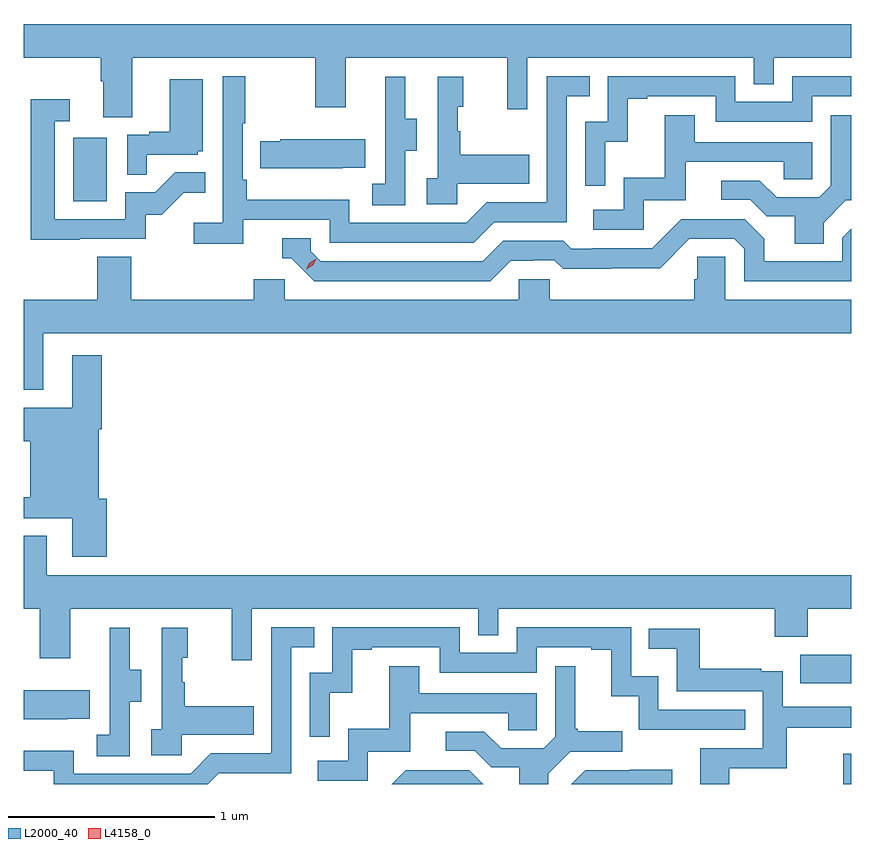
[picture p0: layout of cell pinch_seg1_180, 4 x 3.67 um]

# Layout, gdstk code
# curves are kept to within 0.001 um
import gdstk
lib = gdstk.Library(unit=1e-6, precision=1e-09)
def R(c, l, rs):  # rectangles x0, y0, x1, y1
    for r in rs: c.add(gdstk.rectangle(r[:2], r[2:], *l))
def P(c, l, *ps):  # polygons
    for p in ps: c.add(gdstk.Polygon(p, *l))
L2000_40 = (2000, 40)
L4158_0 = (4158, 0)

pinch_seg1_180 = lib.new_cell('pinch_seg1_180')
R(pinch_seg1_180, L2000_40, [(1082.13,552.218,1082.168,552.364), (1078.406,555.036,1078.57,555.343)])
P(pinch_seg1_180, L2000_40, [(1078.693,555.728),(1079.578,555.728),(1079.578,555.489),(1079.725,555.489),(1079.725,555.728),(1080.506,555.728),(1080.506,555.48),(1080.603,555.48),(1080.603,555.728),(1081.698,555.728),(1081.698,555.601),(1081.794,555.601),(1081.794,555.728),(1082.168,555.728),(1082.168,555.892),(1078.168,555.892),(1078.168,555.728),(1078.541,555.728),(1078.541,555.616),(1078.553,555.616),(1078.553,555.442),(1078.693,555.442)],
  [(1079.228,554.946),(1079.646,554.946),(1079.646,554.835),(1080.343,554.835),(1080.442,554.934),(1080.792,554.934),(1080.792,555.543),(1080.905,555.543),(1080.905,555.639),(1080.696,555.639),(1080.696,555.03),(1080.405,555.03),(1080.306,554.931),(1079.742,554.931),(1079.742,555.043),(1079.246,555.043),(1079.246,555.139),(1079.226,555.139),(1079.226,555.412),(1079.239,555.412),(1079.239,555.64),(1079.13,555.64),(1079.13,554.932),(1078.989,554.932),(1078.989,554.83),(1079.228,554.83)],
  [(1080.978,555.323),(1081.088,555.323),(1081.088,555.531),(1081.183,555.531),(1081.183,555.543),(1081.512,555.543),(1081.512,555.42),(1081.98,555.42),(1081.98,555.543),(1082.168,555.543),(1082.168,555.639),(1081.884,555.639),(1081.884,555.516),(1081.608,555.516),(1081.608,555.639),(1080.99,555.639),(1080.99,555.42),(1080.882,555.42),(1080.882,555.111),(1080.978,555.111)],
  [(1080.012,555.28),(1080.067,555.28),(1080.067,555.435),(1080.013,555.435),(1080.013,555.637),(1079.915,555.637),(1079.915,555.423),(1079.916,555.423),(1079.916,555.119),(1079.853,555.119),(1079.853,555.016),(1080.012,555.016)],
  [(1080.264,555.119),(1080.611,555.119),(1080.611,555.259),(1080.277,555.259),(1080.277,555.374),(1080.267,555.374),(1080.267,555.492),(1080.292,555.492),(1080.292,555.637),(1080.168,555.637),(1080.168,555.146),(1080.117,555.146),(1080.117,555.021),(1080.264,555.021)],
  [(1078.763,555.261),(1079.01,555.261),(1079.01,555.276),(1079.032,555.276),(1079.032,555.625),(1078.874,555.625),(1078.874,555.37),(1078.775,555.37),(1078.775,555.357),(1078.668,555.357),(1078.668,555.163),(1078.763,555.163)],
  [(1078.439,554.853),(1078.758,554.853),(1078.758,554.97),(1078.834,554.97),(1078.941,555.077),(1079.045,555.077),(1079.045,555.176),(1078.901,555.176),(1078.803,555.078),(1078.659,555.078),(1078.659,554.949),(1078.317,554.949),(1078.317,555.423),(1078.39,555.423),(1078.39,555.529),(1078.201,555.529),(1078.201,554.848),(1078.439,554.848)],
  [(1081.164,555.039),(1081.369,555.039),(1081.369,555.225),(1081.843,555.225),(1081.843,555.141),(1081.98,555.141),(1081.98,555.321),(1081.411,555.321),(1081.411,555.451),(1081.267,555.451),(1081.267,555.148),(1081.068,555.148),(1081.068,554.994),(1080.921,554.994),(1080.921,554.898),(1081.164,554.898)],
  [(1082.035,554.932),(1082.142,555.039),(1082.168,555.039),(1082.167,555.451),(1082.07,555.451),(1082.07,555.111),(1082.013,555.054),(1081.807,555.054),(1081.726,555.135),(1081.539,555.135),(1081.539,555.042),(1081.68,555.042),(1081.76,554.962),(1081.895,554.962),(1081.895,554.83),(1082.035,554.83)],
  [(1079.711,555.197),(1079.819,555.197),(1079.819,555.334),(1079.409,555.334),(1079.409,555.324),(1079.311,555.324),(1079.311,555.194),(1079.711,555.194)],
  [(1080.523,554.748),(1080.63,554.748),(1080.63,554.751),(1080.733,554.751),(1080.775,554.709),(1081.008,554.709),(1081.008,554.711),(1081.244,554.711),(1081.386,554.853),(1081.602,554.853),(1081.65,554.805),(1081.65,554.649),(1082.168,554.649),(1082.168,554.903),(1082.124,554.859),(1082.124,554.745),(1081.747,554.745),(1081.747,554.855),(1081.653,554.949),(1081.347,554.949),(1081.206,554.808),(1080.913,554.808),(1080.913,554.805),(1080.814,554.805),(1080.775,554.844),(1080.486,554.844),(1080.387,554.745),(1079.604,554.745),(1079.556,554.793),(1079.556,554.856),(1079.417,554.856),(1079.417,554.76),(1079.46,554.76),(1079.571,554.649),(1080.424,554.649)],
  [(1082.168,554.56),(1081.56,554.56),(1081.56,554.768),(1081.423,554.768),(1081.423,554.658),(1081.409,554.658),(1081.409,554.56),(1080.711,554.56),(1080.711,554.658),(1080.561,554.658),(1080.561,554.56),(1079.43,554.56),(1079.43,554.658),(1079.279,554.658),(1079.279,554.56),(1078.688,554.56),(1078.688,554.768),(1078.523,554.768),(1078.523,554.56),(1078.168,554.56),(1078.168,554.123),(1078.261,554.123),(1078.261,554.396),(1082.168,554.396)],
  [(1078.568,553.596),(1078.531,553.596),(1078.531,553.934),(1078.544,553.934),(1078.544,554.29),(1078.403,554.29),(1078.403,554.038),(1078.168,554.038),(1078.168,553.874),(1078.199,553.874),(1078.199,553.604),(1078.168,553.604),(1078.168,553.503),(1078.403,553.503),(1078.403,553.317),(1078.568,553.317)],
  [(1079.271,553.064),(1080.366,553.064),(1080.366,552.937),(1080.462,552.937),(1080.462,553.064),(1081.798,553.064),(1081.798,552.929),(1081.958,552.929),(1081.958,553.064),(1082.168,553.064),(1082.168,553.228),(1078.279,553.228),(1078.279,553.418),(1078.168,553.418),(1078.168,553.064),(1078.246,553.064),(1078.246,552.825),(1078.393,552.825),(1078.393,553.064),(1079.174,553.064),(1079.174,552.816),(1079.271,552.816)],
  [(1079.646,552.659),(1079.756,552.659),(1079.756,552.867),(1079.851,552.867),(1079.851,552.879),(1080.18,552.879),(1080.18,552.756),(1080.648,552.756),(1080.648,552.879),(1080.911,552.879),(1080.911,552.867),(1081.007,552.867),(1081.007,552.641),(1081.14,552.641),(1081.14,552.48),(1081.655,552.48),(1081.655,552.576),(1081.236,552.576),(1081.236,552.739),(1081.104,552.739),(1081.104,552.975),(1080.552,552.975),(1080.552,552.852),(1080.276,552.852),(1080.276,552.975),(1079.658,552.975),(1079.658,552.756),(1079.55,552.756),(1079.55,552.447),(1079.646,552.447)],
  [(1079.11,552.27),(1079.46,552.27),(1079.46,552.879),(1079.573,552.879),(1079.573,552.975),(1079.364,552.975),(1079.364,552.366),(1079.073,552.366),(1078.974,552.267),(1078.41,552.267),(1078.41,552.379),(1078.168,552.379),(1078.168,552.282),(1078.314,552.282),(1078.314,552.218),(1079.058,552.218)],
  [(1078.932,552.455),(1079.279,552.455),(1079.279,552.595),(1078.945,552.595),(1078.945,552.71),(1078.935,552.71),(1078.935,552.828),(1078.96,552.828),(1078.96,552.973),(1078.836,552.973),(1078.836,552.482),(1078.785,552.482),(1078.785,552.357),(1078.932,552.357)],
  [(1078.68,552.616),(1078.735,552.616),(1078.735,552.771),(1078.681,552.771),(1078.681,552.973),(1078.583,552.973),(1078.583,552.759),(1078.584,552.759),(1078.584,552.455),(1078.521,552.455),(1078.521,552.352),(1078.68,552.352)],
  [(1081.579,552.294),(1081.856,552.294),(1081.856,552.49),(1082.168,552.49),(1082.168,552.591),(1081.836,552.591),(1081.836,552.763),(1081.733,552.763),(1081.733,552.775),(1081.435,552.775),(1081.435,552.969),(1081.189,552.969),(1081.189,552.872),(1081.324,552.872),(1081.324,552.666),(1081.74,552.666),(1081.74,552.39),(1081.439,552.39),(1081.439,552.218),(1081.579,552.218)],
  [(1082.135,552.705),(1082.168,552.705),(1082.168,552.844),(1081.921,552.844),(1081.921,552.704),(1082.135,552.704)],
  [(1080.703,552.268),(1080.81,552.375),(1081.06,552.375),(1081.06,552.472),(1080.847,552.472),(1080.847,552.484),(1080.835,552.484),(1080.835,552.787),(1080.738,552.787),(1080.738,552.447),(1080.681,552.39),(1080.475,552.39),(1080.394,552.471),(1080.207,552.471),(1080.207,552.378),(1080.348,552.378),(1080.428,552.298),(1080.563,552.298),(1080.563,552.218),(1080.703,552.218)],
  [(1079.832,552.375),(1080.037,552.375),(1080.037,552.561),(1080.511,552.561),(1080.511,552.477),(1080.648,552.477),(1080.648,552.657),(1080.079,552.657),(1080.079,552.787),(1079.935,552.787),(1079.935,552.484),(1079.736,552.484),(1079.736,552.33),(1079.589,552.33),(1079.589,552.234),(1079.832,552.234)],
  [(1078.379,552.533),(1078.487,552.533),(1078.487,552.67),(1078.168,552.67),(1078.168,552.53),(1078.379,552.53)],
  [(1081.303,552.287),(1081.098,552.287),(1081.098,552.285),(1080.882,552.285),(1080.815,552.218),(1081.303,552.218)],
  [(1080.321,552.285),(1080.015,552.285),(1079.948,552.218),(1080.388,552.218)])
P(pinch_seg1_180, L4158_0, [(1079.533,554.706),(1079.533,554.707),(1079.55,554.739),(1079.581,554.758),(1079.581,554.758),(1079.581,554.758),(1079.565,554.725),(1079.534,554.706)])

lib.write_gds('pinch_seg1_180.gds')
